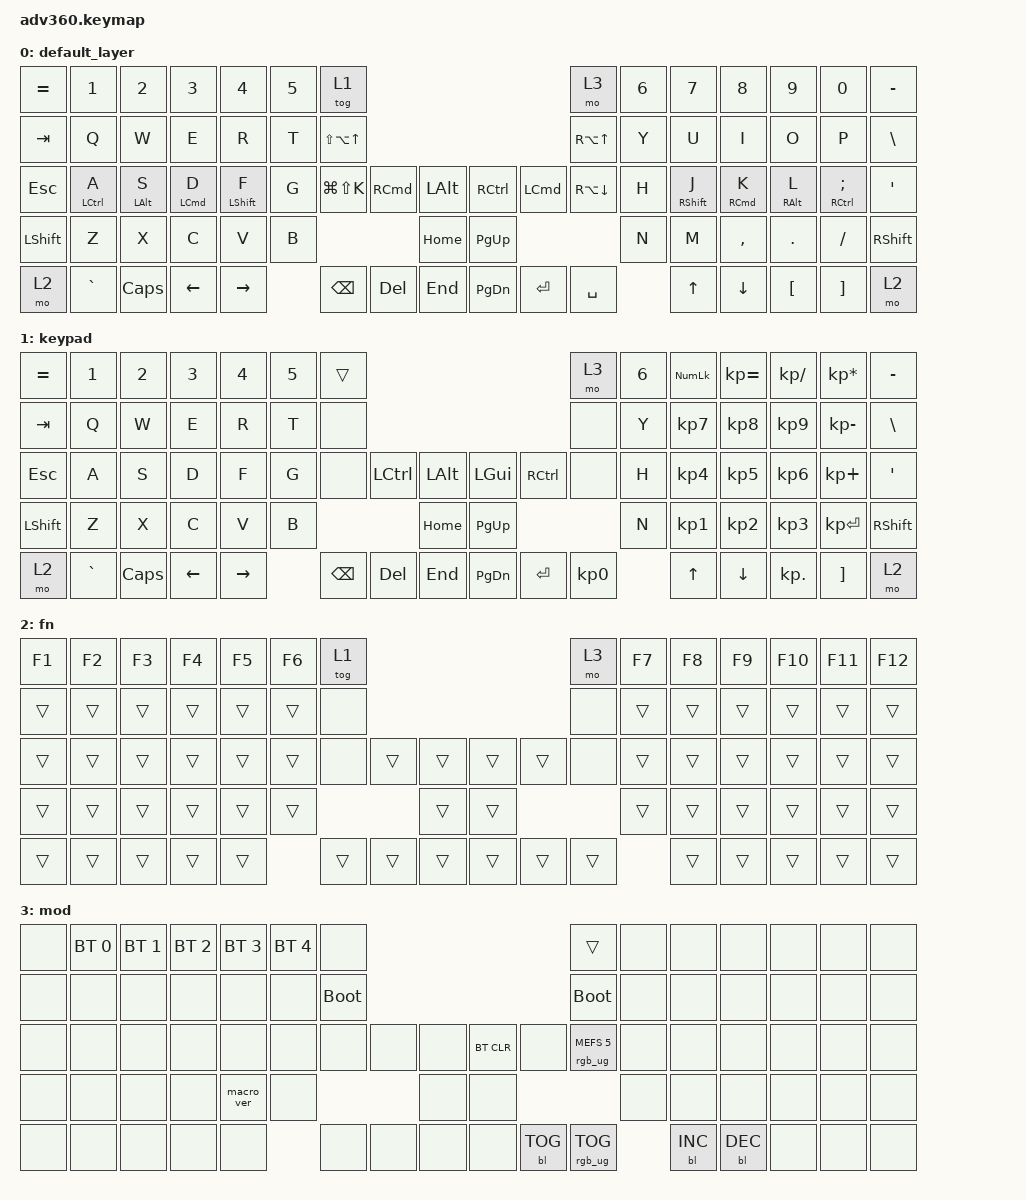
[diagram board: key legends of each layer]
#include <behaviors.dtsi>
#include <dt-bindings/zmk/backlight.h>
#include <dt-bindings/zmk/bt.h>
#include <dt-bindings/zmk/keys.h>
#include <dt-bindings/zmk/rgb.h>

/ {
    behaviors {
        #include "macros.dtsi"
      #include "version.dtsi"
      #ifndef VERSION_MACRO

        macro_ver: macro_ver {
            compatible = "zmk,behavior-macro";
            label = "macro_version";
            #binding-cells = <0>;
            bindings = <&kp RET>;
        };

        #endif

        hml: hml {
            compatible = "zmk,behavior-hold-tap";
            label = "HML";
            bindings = <&kp>, <&kp>;

            #binding-cells = <2>;
            tapping-term-ms = <280>;
            quick-tap-ms = <175>;
            require-prior-idle-ms = <150>;
            hold-trigger-key-positions = <37 38 36 35 41 42 43 44 45 7 8 9 10 7 8 9 10 11 12 13 21 22 23 24 25 26 27 38 39 40 41 42 43 44 45 54 55 56 57 58 59 71 72 73 74 75 36 37 52 53 65 66 67 68 69 70>;
            hold-trigger-on-release;
            flavor = "balanced";
        };

        hmr: hmr {
            compatible = "zmk,behavior-hold-tap";
            label = "HMR";
            bindings = <&kp>, <&kp>;

            #binding-cells = <2>;
            tapping-term-ms = <280>;
            quick-tap-ms = <175>;
            require-prior-idle-ms = <150>;
            flavor = "balanced";
            hold-trigger-key-positions = <0 1 2 3 4 5 6 14 15 16 17 18 19 20 28 29 30 31 32 33 34 46 47 48 49 50 51 60 61 62 63 64 35 36 37 38 35 36 37 38 52 53 65 66 67 68 69 70>;
            hold-trigger-on-release;
        };
    };

    macros {
    };

    combos {
        compatible = "zmk,combos";

        cmdpalette {
            bindings = <&kp LG(LS(P))>;
            key-positions = <29 30>;
            require-prior-idle-ms = <150>;
            timeout-ms = <50>;
        };

        projectfolder {
            bindings = <&kp LG(RS(E))>;
            key-positions = <30 31>;
            timeout-ms = <50>;
            require-prior-idle-ms = <150>;
        };

        termeditortog {
            bindings = <&kp LC(GRAVE)>;
            key-positions = <31 32>;
            require-prior-idle-ms = <150>;
            timeout-ms = <50>;
        };

        filefinder {
            bindings = <&kp LG(P)>;
            key-positions = <32 33>;
            require-prior-idle-ms = <150>;
            timeout-ms = <50>;
        };

        toggleassistant {
            bindings = <&kp LG(LS(QUESTION))>;
            key-positions = <41 42>;
            require-prior-idle-ms = <150>;
            timeout-ms = <50>;
        };

        sidebartog {
            bindings = <&kp RG(B)>;
            key-positions = <42 43>;
            timeout-ms = <50>;
            require-prior-idle-ms = <150>;
        };

        selectallmatches {
            bindings = <&kp RG(RS(L))>;
            key-positions = <40 41>;
            timeout-ms = <50>;
            require-prior-idle-ms = <150>;
        };

        definition {
            bindings = <&kp RG(F12)>;
            key-positions = <43 44>;
            timeout-ms = <50>;
            require-prior-idle-ms = <150>;
        };
    };

    keymap {
        compatible = "zmk,keymap";

        default_layer {
            bindings = <
&kp EQUAL  &kp N1        &kp N2       &kp N3       &kp N4        &kp N5  &tog 1                                                              &mo 3             &kp N6  &kp N7        &kp N8       &kp N9       &kp N0                &kp MINUS
&kp TAB    &kp Q         &kp W        &kp E        &kp R         &kp T   &kp LS(LA(UP_ARROW))                                                &kp RA(UP_ARROW)  &kp Y   &kp U         &kp I        &kp O        &kp P                 &kp BSLH
&kp ESC    &hml LCTRL A  &hml LALT S  &hml LCMD D  &hml LSHFT F  &kp G   &kp LG(LS(K))         &kp RCMD  &kp LALT      &kp RCTRL  &kp LCMD   &kp RA(DOWN)      &kp H   &hmr RSHFT J  &hmr RCMD K  &hmr RALT L  &hmr RCTRL SEMICOLON  &kp SQT
&kp LSHFT  &kp Z         &kp X        &kp C        &kp V         &kp B                                   &kp HOME      &kp PG_UP                               &kp N   &kp M         &kp COMMA    &kp DOT      &kp FSLH              &kp RSHFT
&mo 2      &kp GRAVE     &kp CAPS     &kp LEFT     &kp RIGHT             &kp BSPC              &kp DEL   &kp END       &kp PG_DN  &kp ENTER  &kp SPACE                 &kp UP        &kp DOWN     &kp LBKT     &kp RBKT              &mo 2
            >;
        };

        keypad {
            bindings = <
&kp EQUAL  &kp N1     &kp N2    &kp N3    &kp N4     &kp N5  &trans                                                   &mo 3      &kp N6  &kp KP_NUM  &kp KP_EQUAL  &kp KP_DIVIDE  &kp KP_MULTIPLY  &kp MINUS
&kp TAB    &kp Q      &kp W     &kp E     &kp R      &kp T   &none                                                    &none      &kp Y   &kp KP_N7   &kp KP_N8     &kp KP_N9      &kp KP_MINUS     &kp BSLH
&kp ESC    &kp A      &kp S     &kp D     &kp F      &kp G   &none     &kp LCTRL  &kp LALT      &kp LGUI   &kp RCTRL  &none      &kp H   &kp KP_N4   &kp KP_N5     &kp KP_N6      &kp KP_PLUS      &kp SQT
&kp LSHFT  &kp Z      &kp X     &kp C     &kp V      &kp B                        &kp HOME      &kp PG_UP                        &kp N   &kp KP_N1   &kp KP_N2     &kp KP_N3      &kp KP_ENTER     &kp RSHFT
&mo 2      &kp GRAVE  &kp CAPS  &kp LEFT  &kp RIGHT          &kp BSPC  &kp DEL    &kp END       &kp PG_DN  &kp ENTER  &kp KP_N0          &kp UP      &kp DOWN      &kp KP_DOT     &kp RBKT         &mo 2
            >;
        };

        fn {
            bindings = <
&kp F1  &kp F2  &kp F3  &kp F4  &kp F5  &kp F6  &tog 1                                      &mo 3   &kp F7  &kp F8  &kp F9  &kp F10  &kp F11  &kp F12
&trans  &trans  &trans  &trans  &trans  &trans  &none                                       &none   &trans  &trans  &trans  &trans   &trans   &trans
&trans  &trans  &trans  &trans  &trans  &trans  &none   &trans  &trans      &trans  &trans  &none   &trans  &trans  &trans  &trans   &trans   &trans
&trans  &trans  &trans  &trans  &trans  &trans                  &trans      &trans                  &trans  &trans  &trans  &trans   &trans   &trans
&trans  &trans  &trans  &trans  &trans          &trans  &trans  &trans      &trans  &trans  &trans          &trans  &trans  &trans   &trans   &trans
            >;
        };

        mod {
            bindings = <
&none  &bt BT_SEL 0  &bt BT_SEL 1  &bt BT_SEL 2  &bt BT_SEL 3  &bt BT_SEL 4  &none                                                  &trans                  &none  &none       &none       &none  &none  &none
&none  &none         &none         &none         &none         &none         &bootloader                                            &bootloader             &none  &none       &none       &none  &none  &none
&none  &none         &none         &none         &none         &none         &none        &none  &none      &bt BT_CLR  &none       &rgb_ug RGB_MEFS_CMD 5  &none  &none       &none       &none  &none  &none
&none  &none         &none         &none         &macro_ver    &none                             &none      &none                                           &none  &none       &none       &none  &none  &none
&none  &none         &none         &none         &none                       &none        &none  &none      &none       &bl BL_TOG  &rgb_ug RGB_TOG                &bl BL_INC  &bl BL_DEC  &none  &none  &none
            >;
        };
    };
};
